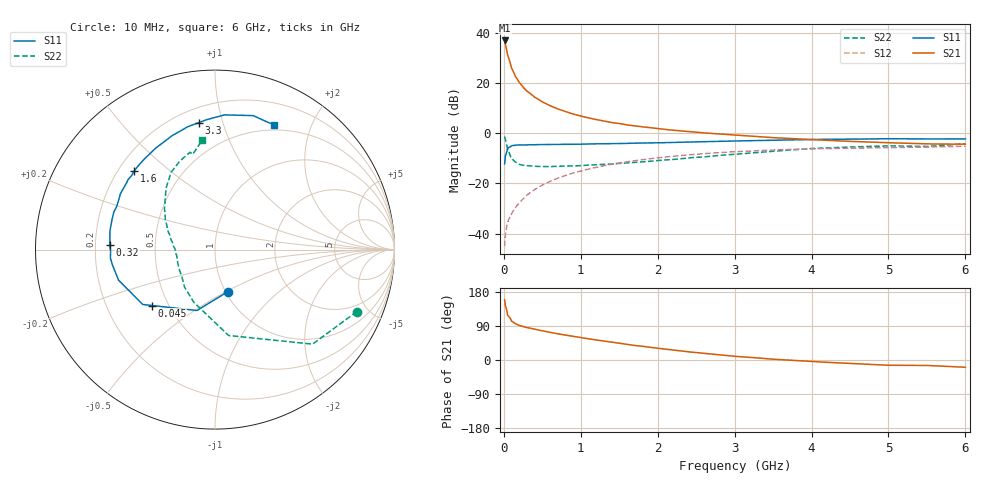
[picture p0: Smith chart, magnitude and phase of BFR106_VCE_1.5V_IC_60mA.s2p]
! Infineon Technologies  Discrete & RF Semiconductors
! BFR106
! VCE =  1.5 V,  IC =  60 mA
! Common Emitter S-Parameters:  Nov 2015
# GHz  S  MA  R  50
!  f  S11  S21  S12  S22
! GHz  MAG  ANG  MAG  ANG  MAG  ANG  MAG  ANG
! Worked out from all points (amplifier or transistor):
!   210 points, 10 MHz to 6 GHz, reference 50 ohm
!   highest |S21| = 37.0 dB at 10 MHz (marker M1)
!   |S21| within 3 dB of that: start of sweep to 31.62 MHz
!   unconditionally stable (mu >= 1): 196.9 MHz to 3.392 GHz; 4.28 GHz to end of sweep
!   at 185 MHz: K = 0.98, MSG = 24.7 dB, |S12| = -28.3 dB
!   at 1.52 GHz: K = 1.06, MAG = 6.3 dB, |S12| = -11.8 dB
!   at 6 GHz: K = 1.02, MAG = -0.4 dB, |S12| = -5.2 dB
!   S11 on the Smith chart (normalised r, x): 10 MHz: 1.02, -0.51; 45 MHz: 0.40, -0.32; 320 MHz: 0.26, +0.02; 1.6 GHz: 0.26, +0.38; 3.3 GHz: 0.29, +0.84; 6 GHz: 0.44, +1.49
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0.01  0.2454 -73.3  70.62 159.1  0.0056 75.8  0.8625 -23.6
0.02  0.3539 -106.5  60.51 143.1  0.0098 66.0  0.7569 -44.1
0.045  0.4701 -138.5  39.32 124.1  0.0156 58.7  0.5103 -72.5
0.05  0.5055 -142.8  35.95 117.8  0.0168 57.8  0.4845 -81.0
0.1  0.5636 -162.4  19.94 102.6  0.0248 62.3  0.3164 -111.9
0.15  0.577 -170.8  13.59 95.5  0.0328 64.8  0.2683 -129.5
0.2  0.5848 -175.5  10.33 91.3  0.0408 68.0  0.2401 -139.8
0.26  0.5821 -179.7  7.984 87.5  0.0509 69.6  0.2285 -149.6
0.3  0.5862 178.5  6.916 85.5  0.0581 70.6  0.2256 -153.7
0.32  0.5866 177.5  6.578 84.8  0.0615 70.7  0.224 -155.3
0.4  0.5897 173.7  5.239 81.0  0.0752 71.1  0.2193 -162.0
0.5  0.5946 169.8  4.208 77.0  0.0922 70.7  0.2162 -167.7
0.6  0.5961 165.7  3.535 72.9  0.1095 70.0  0.216 -171.2
0.8  0.6012 159.6  2.692 65.8  0.1436 67.2  0.2219 -177.9
1.02  0.6051 151.9  2.16 58.6  0.1801 63.9  0.227 177.2
1.6  0.6278 135.8  1.464 41.3  0.2688 54.0  0.2558 165.5
2.02  0.6446 124.7  1.227 30.6  0.3252 46.4  0.2869 157.2
3.1  0.7045 100.8  0.895 8.4  0.4345 28.1  0.3904 135.4
3.3  0.7135 97.2  0.854 5.4  0.4489 24.9  0.4133 131.8
4.1  0.7534 84.7  0.733 -5.1  0.4915 13.2  0.5014 117.9
5.1  0.774 72.9  0.639 -14.0  0.5181 1.7  0.5569 104.2
6  0.7695 64.7  0.605 -19.1  0.5512 -7.0  0.6141 96.6
